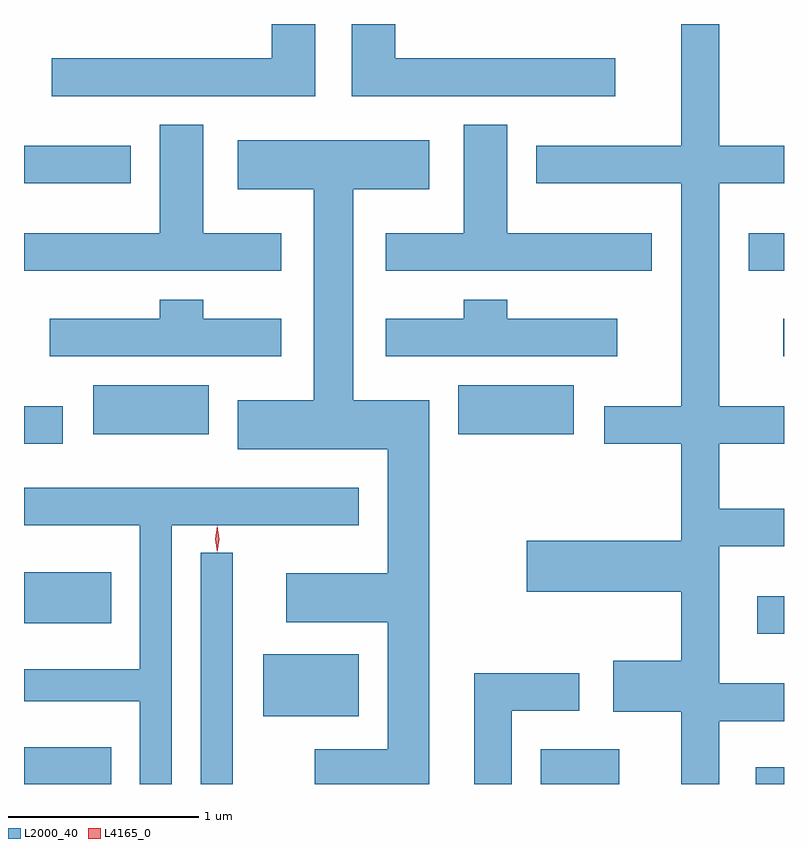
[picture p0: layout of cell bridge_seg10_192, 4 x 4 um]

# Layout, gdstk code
import gdstk
lib = gdstk.Library(unit=1e-6, precision=1e-09)
def R(c, l, rs):  # rectangles x0, y0, x1, y1
    for r in rs: c.add(gdstk.rectangle(r[:2], r[2:], *l))
def P(c, l, *ps):  # polygons
    for p in ps: c.add(gdstk.Polygon(p, *l))
L2000_40 = (2000, 40)
L4165_0 = (4165, 0)

bridge_seg10_192 = lib.new_cell('bridge_seg10_192')
R(bridge_seg10_192, L2000_40, [(1726.471,2140.955,1726.929,2141.149), (1727.401,2140.955,1727.569,2142.173), (1729.191,2140.955,1729.604,2141.139), (1730.321,2140.955,1730.471,2141.044), (1727.731,2141.311,1728.234,2141.639), (1730.331,2141.746,1730.471,2141.944), (1726.471,2141.801,1726.929,2142.069), (1726.471,2142.746,1726.674,2142.944), (1726.836,2142.796,1727.444,2143.054), (1728.756,2142.796,1729.364,2143.054), (1730.466,2143.206,1730.471,2143.404), (1730.286,2143.656,1730.471,2143.854), (1726.471,2144.116,1727.034,2144.314)])
P(bridge_seg10_192, L2000_40, [(1729.584,2144.774),(1728.424,2144.774),(1728.424,2144.955),(1728.196,2144.955),(1728.196,2144.576),(1729.584,2144.576)],
  [(1729.166,2144.116),(1729.931,2144.116),(1729.931,2142.944),(1729.526,2142.944),(1729.526,2142.746),(1729.931,2142.746),(1729.931,2142.234),(1729.116,2142.234),(1729.116,2141.966),(1729.931,2141.966),(1729.931,2141.604),(1729.571,2141.604),(1729.571,2141.336),(1729.931,2141.336),(1729.931,2140.955),(1730.129,2140.955),(1730.129,2141.286),(1730.471,2141.286),(1730.471,2141.484),(1730.129,2141.484),(1730.129,2142.206),(1730.471,2142.206),(1730.471,2142.404),(1730.129,2142.404),(1730.129,2142.746),(1730.471,2142.746),(1730.471,2142.944),(1730.129,2142.944),(1730.129,2144.116),(1730.471,2144.116),(1730.471,2144.314),(1730.129,2144.314),(1730.129,2144.955),(1729.931,2144.955),(1729.931,2144.314),(1729.166,2144.314)],
  [(1728.004,2144.955),(1727.776,2144.955),(1727.776,2144.774),(1726.616,2144.774),(1726.616,2144.576),(1728.004,2144.576)],
  [(1729.774,2143.854),(1729.014,2143.854),(1729.014,2144.424),(1728.786,2144.424),(1728.786,2143.854),(1728.376,2143.854),(1728.376,2143.656),(1729.774,2143.656)],
  [(1727.824,2143.854),(1727.414,2143.854),(1727.414,2144.424),(1727.186,2144.424),(1727.186,2143.854),(1726.471,2143.854),(1726.471,2143.656),(1727.824,2143.656)],
  [(1728.604,2142.974),(1728.204,2142.974),(1728.204,2144.086),(1728.604,2144.086),(1728.604,2144.344),(1727.596,2144.344),(1727.596,2144.086),(1727.996,2144.086),(1727.996,2142.974),(1727.596,2142.974),(1727.596,2142.716),(1728.386,2142.716),(1728.386,2142.064),(1727.851,2142.064),(1727.851,2141.806),(1728.386,2141.806),(1728.386,2141.139),(1728.001,2141.139),(1728.001,2140.955),(1728.604,2140.955)],
  [(1727.824,2143.404),(1727.414,2143.404),(1727.414,2143.504),(1727.186,2143.504),(1727.186,2143.404),(1726.606,2143.404),(1726.606,2143.206),(1727.824,2143.206)],
  [(1729.594,2143.404),(1729.014,2143.404),(1729.014,2143.504),(1728.786,2143.504),(1728.786,2143.404),(1728.376,2143.404),(1728.376,2143.206),(1729.594,2143.206)],
  [(1727.249,2142.316),(1728.234,2142.316),(1728.234,2142.514),(1726.471,2142.514),(1726.471,2142.316),(1727.081,2142.316),(1727.081,2141.559),(1726.471,2141.559),(1726.471,2141.391),(1727.081,2141.391),(1727.081,2140.955),(1727.249,2140.955)],
  [(1729.039,2141.341),(1729.394,2141.341),(1729.394,2141.539),(1728.841,2141.539),(1728.841,2140.955),(1729.039,2140.955)])
P(bridge_seg10_192, L4165_0, [(1727.487,2142.178),(1727.478,2142.244),(1727.487,2142.311),(1727.488,2142.311),(1727.488,2142.311),(1727.498,2142.244),(1727.488,2142.178),(1727.488,2142.178)],
  [(1727.488,2142.174),(1727.487,2142.175),(1727.478,2142.244),(1727.487,2142.313),(1727.488,2142.314),(1727.488,2142.313),(1727.498,2142.244),(1727.488,2142.175)])

lib.write_gds('bridge_seg10_192.gds')
